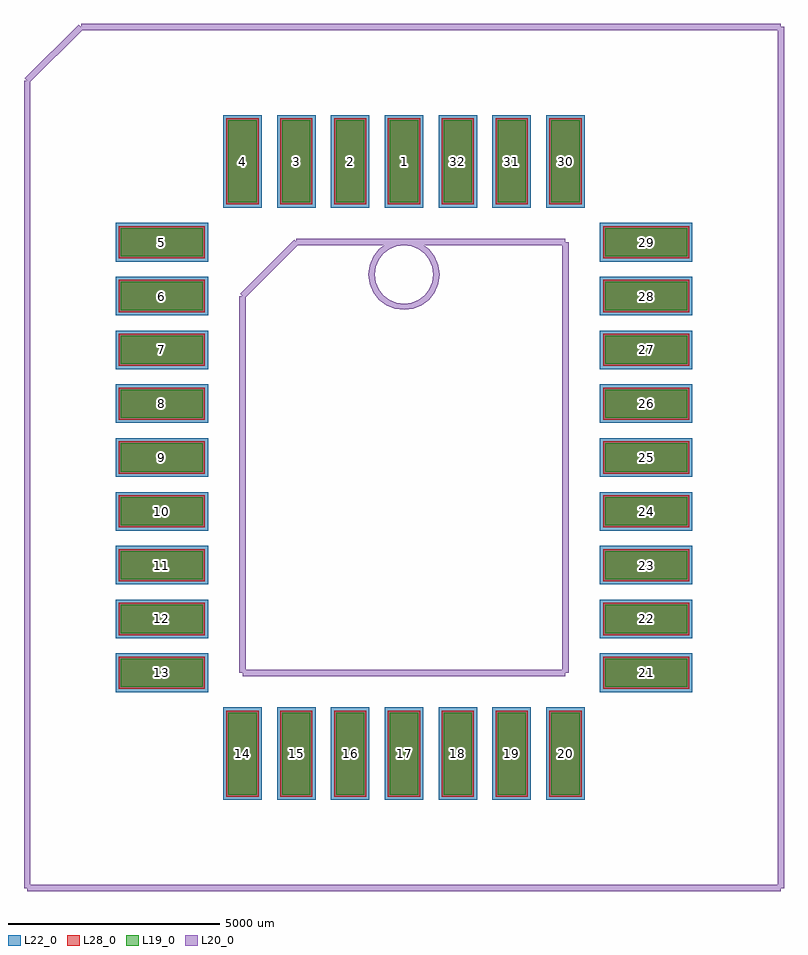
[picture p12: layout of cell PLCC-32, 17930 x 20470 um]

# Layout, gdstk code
import gdstk
lib = gdstk.Library(unit=1e-6, precision=1e-09)
def R(c, l, rs):  # rectangles x0, y0, x1, y1
    for r in rs: c.add(gdstk.rectangle(r[:2], r[2:], *l))
def A(c, l, x, y, w, h, nx, ny, dx, dy):  # array of equal rectangles
    R(c, l, [(x+i*dx, y+j*dy, x+i*dx+w, y+j*dy+h) for i in range(nx) for j in range(ny)])
L19_0 = (19, 0)
L20_0 = (20, 0)
L22_0 = (22, 0)
L28_0 = (28, 0)

plcc_32 = lib.new_cell('PLCC-32')
A(plcc_32, L19_0, -4141, -7951, 662, 1932, 7, 2, 1270, 13970)
A(plcc_32, L19_0, -6681, -5411, 1932, 662, 1, 9, 0, 1270)
A(plcc_32, L19_0, 4749, -5411, 1932, 662, 1, 9, 0, 1270)
A(plcc_32, L22_0, -4266, -8076, 912, 2182, 7, 2, 1270, 13970)
A(plcc_32, L22_0, -6806, -5536, 2182, 912, 1, 9, 0, 1270)
A(plcc_32, L22_0, 4624, -5536, 2182, 912, 1, 9, 0, 1270)
A(plcc_32, L28_0, -4191, -8001, 762, 2032, 7, 2, 1270, 13970)
A(plcc_32, L28_0, -6731, -5461, 2032, 762, 1, 9, 0, 1270)
A(plcc_32, L28_0, 4699, -5461, 2032, 762, 1, 9, 0, 1270)
plcc_32.add(gdstk.FlexPath([(8890,10160),(8890,6985)], 149.998, ends="flush", simple_path=True, layer=20, datatype=0))  # L20_0
plcc_32.add(gdstk.FlexPath([(-7620,10160),(8890,10160)], 149.998, ends="flush", simple_path=True, layer=20, datatype=0))  # L20_0
plcc_32.add(gdstk.FlexPath([(-8890,8890),(-7620,10160)], 149.998, ends="flush", simple_path=True, layer=20, datatype=0))  # L20_0
plcc_32.add(gdstk.FlexPath([(-8890,-10160),(-8890,8890)], 149.998, ends="flush", simple_path=True, layer=20, datatype=0))  # L20_0
plcc_32.add(gdstk.FlexPath([(8890,-10160),(-8890,-10160)], 149.998, ends="flush", simple_path=True, layer=20, datatype=0))  # L20_0
plcc_32.add(gdstk.FlexPath([(8890,6985),(8890,-10160)], 149.998, ends="flush", simple_path=True, layer=20, datatype=0))  # L20_0
plcc_32.add(gdstk.FlexPath([(3810,-5080),(3810,5080)], 149.998, ends="flush", simple_path=True, layer=20, datatype=0))  # L20_0
plcc_32.add(gdstk.FlexPath([(-3810,-5080),(3810,-5080)], 149.998, ends="flush", simple_path=True, layer=20, datatype=0))  # L20_0
plcc_32.add(gdstk.FlexPath([(-3810,3810),(-3810,-5080)], 149.998, ends="flush", simple_path=True, layer=20, datatype=0))  # L20_0
plcc_32.add(gdstk.FlexPath([(-2540,5080),(-3810,3810)], 149.998, ends="flush", simple_path=True, layer=20, datatype=0))  # L20_0
plcc_32.add(gdstk.FlexPath([(3810,5080),(-2540,5080)], 149.998, ends="flush", simple_path=True, layer=20, datatype=0))  # L20_0
plcc_32.add(gdstk.FlexPath([(0,5080),(-197.22,5054.035),(-381,4977.911),(-538.815,4856.815),(-659.911,4699),(-736.035,4515.22),(-762,4318),(-736.035,4120.78),(-659.911,3937),(-538.815,3779.185),(-381,3658.089),(-197.22,3581.965),(0,3556),(197.22,3581.965),(381,3658.089),(538.815,3779.185),(659.911,3937),(736.035,4120.78),(762,4318),(736.035,4515.22),(659.911,4699),(538.815,4856.815),(381,4977.911),(197.22,5054.035),(0,5080)], 149.998, ends="flush", simple_path=True, layer=20, datatype=0))  # L20_0
plcc_32.add(gdstk.Label('32', (1270,6985), layer=28, texttype=0))
plcc_32.add(gdstk.Label('31', (2540,6985), layer=28, texttype=0))
plcc_32.add(gdstk.Label('30', (3810,6985), layer=28, texttype=0))
plcc_32.add(gdstk.Label('29', (5715,5080), layer=28, texttype=0))
plcc_32.add(gdstk.Label('28', (5715,3810), layer=28, texttype=0))
plcc_32.add(gdstk.Label('27', (5715,2540), layer=28, texttype=0))
plcc_32.add(gdstk.Label('26', (5715,1270), layer=28, texttype=0))
plcc_32.add(gdstk.Label('25', (5715,0), layer=28, texttype=0))
plcc_32.add(gdstk.Label('24', (5715,-1270), layer=28, texttype=0))
plcc_32.add(gdstk.Label('23', (5715,-2540), layer=28, texttype=0))
plcc_32.add(gdstk.Label('22', (5715,-3810), layer=28, texttype=0))
plcc_32.add(gdstk.Label('21', (5715,-5080), layer=28, texttype=0))
plcc_32.add(gdstk.Label('20', (3810,-6985), layer=28, texttype=0))
plcc_32.add(gdstk.Label('19', (2540,-6985), layer=28, texttype=0))
plcc_32.add(gdstk.Label('18', (1270,-6985), layer=28, texttype=0))
plcc_32.add(gdstk.Label('17', (0,-6985), layer=28, texttype=0))
plcc_32.add(gdstk.Label('16', (-1270,-6985), layer=28, texttype=0))
plcc_32.add(gdstk.Label('15', (-2540,-6985), layer=28, texttype=0))
plcc_32.add(gdstk.Label('14', (-3810,-6985), layer=28, texttype=0))
plcc_32.add(gdstk.Label('13', (-5715,-5080), layer=28, texttype=0))
plcc_32.add(gdstk.Label('12', (-5715,-3810), layer=28, texttype=0))
plcc_32.add(gdstk.Label('11', (-5715,-2540), layer=28, texttype=0))
plcc_32.add(gdstk.Label('10', (-5715,-1270), layer=28, texttype=0))
plcc_32.add(gdstk.Label('9', (-5715,0), layer=28, texttype=0))
plcc_32.add(gdstk.Label('8', (-5715,1270), layer=28, texttype=0))
plcc_32.add(gdstk.Label('7', (-5715,2540), layer=28, texttype=0))
plcc_32.add(gdstk.Label('6', (-5715,3810), layer=28, texttype=0))
plcc_32.add(gdstk.Label('5', (-5715,5080), layer=28, texttype=0))
plcc_32.add(gdstk.Label('4', (-3810,6985), layer=28, texttype=0))
plcc_32.add(gdstk.Label('3', (-2540,6985), layer=28, texttype=0))
plcc_32.add(gdstk.Label('2', (-1270,6985), layer=28, texttype=0))
plcc_32.add(gdstk.Label('1', (0,6985), layer=28, texttype=0))
plcc_32.add(gdstk.Label('type', (10160,0), layer=9, texttype=0))
plcc_32.add(gdstk.Label('devicename', (-10414,0), layer=9, texttype=0))

lib.write_gds('PLCC-32.gds')
